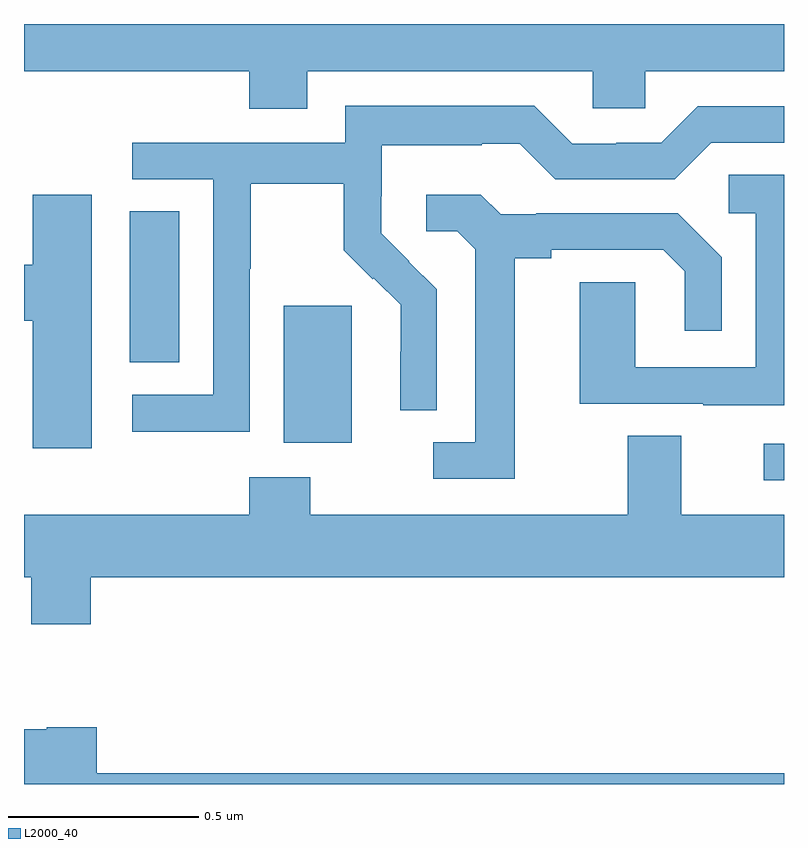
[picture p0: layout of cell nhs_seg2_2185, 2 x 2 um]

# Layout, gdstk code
import gdstk
lib = gdstk.Library(unit=1e-6, precision=1e-09)
def R(c, l, rs):  # rectangles x0, y0, x1, y1
    for r in rs: c.add(gdstk.rectangle(r[:2], r[2:], *l))
def P(c, l, *ps):  # polygons
    for p in ps: c.add(gdstk.Polygon(p, *l))
L2000_40 = (2000, 40)

nhs_seg2_2185 = lib.new_cell('nhs_seg2_2185')
R(nhs_seg2_2185, L2000_40, [(139.947,606.6,140,606.696), (138.683,606.698,138.862,607.059), (138.278,606.91,138.409,607.307)])
P(nhs_seg2_2185, L2000_40, [(138.745,607.676),(139.497,607.676),(139.497,607.578),(139.635,607.578),(139.635,607.676),(140,607.676),(140,607.8),(138,607.8),(138,607.676),(138.593,607.676),(138.593,607.577),(138.745,607.577)],
  [(138.594,607.156),(138.597,607.156),(138.597,607.38),(138.841,607.38),(138.841,607.205),(138.918,607.128),(138.921,607.131),(138.992,607.061),(138.992,606.938),(138.99,606.938),(138.99,606.784),(139.086,606.784),(139.086,607.102),(139.013,607.175),(139.014,607.176),(138.94,607.25),(138.94,607.347),(138.942,607.347),(138.942,607.481),(139.205,607.481),(139.205,607.485),(139.305,607.485),(139.398,607.392),(139.713,607.392),(139.809,607.488),(140,607.488),(140,607.584),(139.773,607.584),(139.677,607.488),(139.559,607.488),(139.559,607.485),(139.443,607.485),(139.343,607.585),(138.846,607.585),(138.846,607.488),(138.285,607.488),(138.285,607.392),(138.498,607.392),(138.498,606.825),(138.285,606.825),(138.285,606.727),(138.594,606.727)],
  [(140,607.403),(139.854,607.403),(139.854,607.302),(139.926,607.302),(139.926,606.897),(139.608,606.897),(139.608,607.121),(139.463,607.121),(139.463,606.801),(139.787,606.801),(139.787,606.797),(140,606.797)],
  [(138.178,607.351),(138.023,607.351),(138.023,607.166),(138,607.166),(138,607.019),(138.023,607.019),(138.023,606.684),(138.178,606.684)],
  [(139.291,607.184),(139.387,607.184),(139.387,607.206),(139.682,607.206),(139.739,607.149),(139.739,606.993),(139.836,606.993),(139.836,607.186),(139.72,607.302),(139.348,607.302),(139.348,607.299),(139.254,607.299),(139.202,607.351),(139.059,607.351),(139.059,607.254),(139.14,607.254),(139.187,607.207),(139.187,606.699),(139.077,606.699),(139.077,606.603),(139.291,606.603)],
  [(138.176,606.344),(140,606.344),(140,606.508),(139.729,606.508),(139.729,606.716),(139.589,606.716),(139.589,606.508),(138.753,606.508),(138.753,606.607),(138.593,606.607),(138.593,606.508),(138,606.508),(138,606.344),(138.019,606.344),(138.019,606.22),(138.176,606.22)],
  [(140,605.828),(138.191,605.828),(138.191,605.95),(138.06,605.95),(138.06,605.944),(138,605.944),(138,605.8),(140,605.8)])

lib.write_gds('nhs_seg2_2185.gds')
